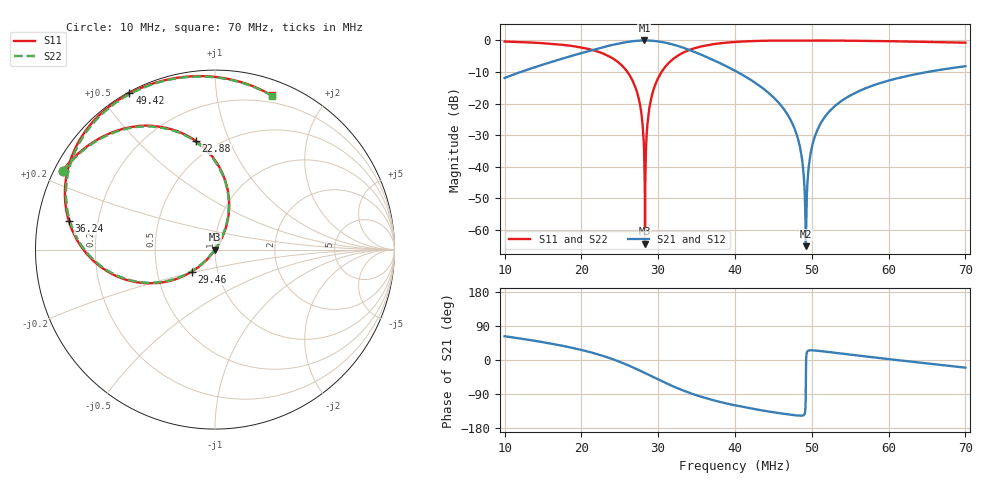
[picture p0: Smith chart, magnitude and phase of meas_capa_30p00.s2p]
#  HZ  S  RI  R  50.00
! Rohde & Schwarz ZVT8 8Ports - Version 4.11 - 1300.0000k08 SN: 100242
! Date: 2026-07-13 13:51:27
! Measurements: S11 S21 S12 S22
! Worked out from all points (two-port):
!   3001 points, 10 MHz to 70 MHz, reference 50 ohm
!   highest |S21| = -0.07 dB at 28.2 MHz (marker M1); lowest = -65.1 dB at 49.22 MHz (marker M2)
!   |S21| within 3 dB of the highest: 21.45 MHz to 34.06 MHz (12.61 MHz wide, 45.4 % of centre)
!   lowest |S11| = -64.3 dB at 28.28 MHz (marker M3), VSWR 1.00, Z = 50 - j0.056 ohm
!   |S11| at or under -10 dB: 25.98 MHz to 30.45 MHz (4.467 MHz wide, 15.8 % of centre)
!   |S22| runs from -56.9 to -0.1 dB; largest |S21 - S12| = 0.0018
!   S11 on the Smith chart (normalised r, x): 10 MHz: 0.02, +0.24; 22.88 MHz: 0.39, +0.76; 29.46 MHz: 0.75, -0.19; 36.24 MHz: 0.09, +0.10; 49.42 MHz: 0.01, +0.59; 70 MHz: 0.13, +1.43
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1e7  -0.8491 0.438  0.1158 0.2248  0.1162 0.2245  -0.8468 0.4352
2e7  -0.3398 0.6887  0.5613 0.2791  0.5607 0.2785  -0.3396 0.6855
2.288e7  -0.1052 0.6034  0.768 0.14  0.7672 0.1397  -0.1064 0.6004
2.684e7  0.0753 0.1914  0.9079 -0.3432  0.9068 -0.3421  0.0733 0.1922
2.768e7  0.0436 0.0778  0.8669 -0.473  0.8668 -0.4727  0.0419 0.0776
2.82e7  0.00757 0.00896  0.8254 -0.5501  0.8246 -0.5489  0.0059 0.0119
2.828e7  0.000237 -0.000559  0.8176 -0.5609  0.8172 -0.5607  -0.000338 0.00138
2.85e7  -0.0193 -0.027  0.7954 -0.5914  0.7949 -0.5906  -0.0201 -0.0242
2.886e7  -0.0554 -0.0655  0.7547 -0.6374  0.7545 -0.6367  -0.0559 -0.0637
2.946e7  -0.1272 -0.1221  0.6763 -0.7033  0.6764 -0.7027  -0.1266 -0.1181
3e7  -0.1992 -0.1577  0.5973 -0.7491  0.5978 -0.7491  -0.1986 -0.1537
3.24e7  -0.5325 -0.1548  0.234 -0.7893  0.234 -0.7887  -0.5295 -0.1519
3.624e7  -0.8141 0.1594  -0.1033 -0.5385  -0.1035 -0.5384  -0.8088 0.1607
4e7  -0.8149 0.467  -0.1632 -0.2865  -0.1636 -0.2864  -0.8087 0.4657
4.708e7  -0.5742 0.8091  -0.0484 -0.0351  -0.0483 -0.035  -0.5701 0.8054
4.842e7  -0.5179 0.8467  -0.0181 -0.0118  -0.0181 -0.0117  -0.5148 0.843
4.922e7  -0.4845 0.8658  0.000217 -0.000511  0.000228 -0.000517  -0.4816 0.8626
4.942e7  -0.4765 0.8706  0.00482 0.00201  0.00483 0.00201  -0.4734 0.8671
5e7  -0.452 0.8824  0.0181 0.00869  0.0181 0.00869  -0.4489 0.8795
5.298e7  -0.3264 0.9316  0.0857 0.0297  0.0856 0.0297  -0.3238 0.9286
6e7  -0.038 0.9653  0.2301 0.00969  0.2298 0.00953  -0.0355 0.9625
7e7  0.3164 0.8591  0.3643 -0.1346  0.3643 -0.1345  0.3196 0.8566
